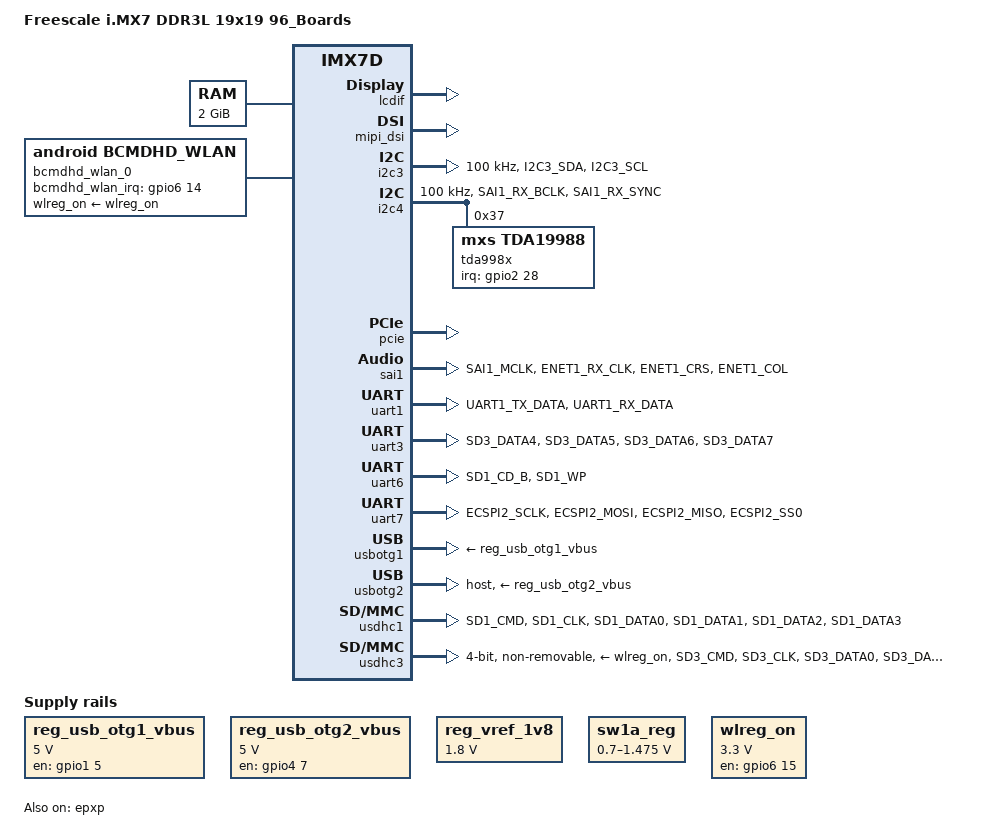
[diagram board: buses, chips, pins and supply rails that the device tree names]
/*
 * Copyright (C) 2015 Freescale Semiconductor, Inc.
 *
 * This program is free software; you can redistribute it and/or modify
 * it under the terms of the GNU General Public License version 2 as
 * published by the Free Software Foundation.
 */

/dts-v1/;

#include <dt-bindings/input/input.h>
#include <dt-bindings/display/tda998x.h>
#include "imx7d.dtsi"

/ {
	model = "Freescale i.MX7 DDR3L 19x19 96_Boards";
	compatible = "fsl,imx7d-96Boards", "fsl,imx7d";

	memory {
		reg = <0x80000000 0x80000000>;
	};

	pxp_v4l2_out {
		compatible = "fsl,imx7d-pxp-v4l2", "fsl,imx6sx-pxp-v4l2", "fsl,imx6sl-pxp-v4l2";
		status = "okay";
	};

	regulators {
		compatible = "simple-bus";
		#address-cells = <1>;
		#size-cells = <0>;

		reg_usb_otg1_vbus: regulator@0 {
			compatible = "regulator-fixed";
			reg = <0>;
			regulator-name = "usb_otg1_vbus";
			regulator-min-microvolt = <5000000>;
			regulator-max-microvolt = <5000000>;
			gpio = <&gpio1 5 GPIO_ACTIVE_HIGH>;
			enable-active-high;
		};

		reg_usb_otg2_vbus: regulator@1 {
			compatible = "regulator-fixed";
			reg = <1>;
			regulator-name = "usb_otg2_vbus";
			regulator-min-microvolt = <5000000>;
			regulator-max-microvolt = <5000000>;
			gpio = <&gpio4 7 GPIO_ACTIVE_HIGH>;
			enable-active-high;
		};

		reg_vref_1v8: regulator@3 {
			compatible = "regulator-fixed";
			regulator-name = "vref-1v8";
			regulator-min-microvolt = <1800000>;
			regulator-max-microvolt = <1800000>;
		};

		sw1a_reg: sw1a {
			compatible = "regulator-fixed";
			regulator-name = "sw1a_reg";
			regulator-min-microvolt = <700000>;
			regulator-max-microvolt = <1475000>;
			regulator-boot-on;
			regulator-always-on;
			regulator-ramp-delay = <6250>;
		};

		wlreg_on: fixedregulator@100 {
			compatible = "regulator-fixed";
			regulator-name = "wlreg_on";
			gpio = <&gpio6 15 GPIO_ACTIVE_HIGH>;
			startup-delay-us = <100>;
			enable-active-high;
			regulator-min-microvolt = <3300000>;
			regulator-max-microvolt = <3300000>;
			regulator-always-on;
		};
	};

	bcmdhd_wlan_0:	bcmdhd_wlan@0 {
		compatible = "android,bcmdhd_wlan";
		wlreg_on-supply = <&wlreg_on>;
		bcmdhd_wlan_irq = <&gpio6 14 0>; 
	};

	audclock_fixed: audclock_fixed {
        #clock-cells = <0>;
		compatible = "fixed-clock";
		clock-frequency = <24576000>;
		status="okay";
	};

    clk_aud1: clk_aud1{
		#clock-cells = <0>;
		compatible = "gpio-gate-clock";
		clocks = <&audclock_fixed>;
#if 0
	enable-gpios = <&gpio1 27 0>; /* BeagleBone Black Clk enable on GPIO1_27 */
#endif
		status="okay";
	};  
	sound-hdmi {
        compatible = "mxs,imx-audio-tda19988x";
        model = "tda19988x-audio";
		cpu-dai = <&sai1>;
        hdmi-controller = <&tda998x>;
	};

	sound {

#if 0
        compatible = "fsl,imx7d-evk-wm8960",
                 "fsl,imx-audio-wm8960";
        model = "wm8960-audio";
        cpu-dai = <&sai1>;
        audio-codec = <&codec>;
        codec-master;
		//compatible = "nxp,tda998x";
        hp-det = <2 0>;
        hp-det-gpios = <&gpio2 28 0>;
        audio-routing =
            "Headphone Jack", "HP_L",
            "Headphone Jack", "HP_R",
            "Ext Spk", "SPK_LP",
            "Ext Spk", "SPK_LN",
            "Ext Spk", "SPK_RP",
            "Ext Spk", "SPK_RN",
            "LINPUT1", "Main MIC",
            "Main MIC", "MICB";
        assigned-clocks = <&clks IMX7D_AUDIO_MCLK_ROOT_SRC>,
                      <&clks IMX7D_AUDIO_MCLK_ROOT_CLK>;
        assigned-clock-parents = <&clks IMX7D_PLL_AUDIO_POST_DIV>;
        assigned-clock-rates = <0>, <12288000>;
#endif


#if 0
		compatible = "simple-audio-card";
		simple-audio-card,name = "imx7-tda19988";
		simple-audio-card,format = "i2s";

		simple-audio-card,dai-link@0{

			bitclock-master = <&tda_dac>;
			frame-master = <&tda_dac>;
			widgets = "Line", "Line Out";

			cpu {
            sound-dai = <&sai1>;
        };

			tda_dac: codec {
				sound-dai = <&tda_codec 0>;
				//clocks = <&clks IMX7D_AUDIO_MCLK_ROOT_CLK>;
				//clocks = <&clks IMX7D_SAI2_ROOT_CLK>;
				clocks = <&clks IMX7D_AUDIO_MCLK_ROOT_CLK>;
				clock-names = "mclk";
				wlf,shared-lrclk;
				/*
				clocks = <&clks IMX7D_PLL_AUDIO_POST_DIV>;	
				clock-names = "pll_audio_post_div";
				*/
				clock-frequency = <24576000>;
		};
	};
     tda_codec: tda998x@37 {
     	compatible = "mxs,tda_audio";
     	#sound-dai-cells = <0>;
     	/* reg = <0x37>; */
     	status="okay";
     };
#endif
	};
};

&cpu0 {
	arm-supply = <&sw1a_reg>;
};

&epxp {
	status = "okay";
};

// AWS - no LCDIF yet
&lcdif {
    disp-dev = "mipi_dsi_samsung";

	pinctrl-names = "default";
	display = <&display0>;
	status = "okay";

	display0: display {
		bits-per-pixel = <24>;
		bus-width = <24>;

		display-timings {
			native-mode = <&timing0>;
			timing0: timing0 {
            clock-frequency = <83500000>;
            hactive = <1280>;
            vactive = <800>;
            hfront-porch = <390>;
            hback-porch = <0>;
            hsync-len = <11>;
            vback-porch = <0>;
            vfront-porch = <21>;
            vsync-len = <10>;
			};
		};
	};
};

&mipi_dsi {
	status = "okay";
	pinctrl-names = "default";
	lcd_panel = "TRULY-TDA";
//	resets = <&mipi_dsi_reset>;
	status = "okay";
};

&i2c3 {
	clock-frequency = <100000>;
	pinctrl-names = "default";
	pinctrl-0 = <&pinctrl_i2c3>;
	status = "okay";
};

&i2c4 {
	clock-frequency = <100000>;
	pinctrl-0 = <&pinctrl_i2c4>;
	status = "okay";

	tda998x: hdmi-encoder {
		//compatible = "nxp,tda998x";
		compatible = "mxs,tda19988";
		//reg = <0x70>;
		reg = <0x37>;
		interrupt-parent = <&gpio2>;
		interrupts = <28 IRQ_TYPE_EDGE_FALLING>;           /* falling edge */
	//	video-ports = <0x230145>;         		     /* default value */	
		pinctrl-0 = <&pinctrl_tda998x &pinctrl_lcdif_dat &pinctrl_lcdif_ctrl>;	
		pinctrl-names = "default";

		#sound-dai-cells = <0>;

		/*	DAI-format	AP_ENA reg value */
		/*audio-ports = <TDA998x_I2S	0x03>;*/
		audio-ports = <AFMT_I2S	0x03>;
	}; 


};

&iomuxc {
	pinctrl-names = "default";

	imx7d-sdb {
		pinctrl_enet1: enet1grp {
			fsl,pins = <
				MX7D_PAD_GPIO1_IO10__ENET1_MDIO		0x3
				MX7D_PAD_GPIO1_IO11__ENET1_MDC		0x3
				MX7D_PAD_ENET1_RGMII_TXC__ENET1_RGMII_TXC	0x1
				MX7D_PAD_ENET1_RGMII_TD0__ENET1_RGMII_TD0	0x1
				MX7D_PAD_ENET1_RGMII_TD1__ENET1_RGMII_TD1	0x1
				MX7D_PAD_ENET1_RGMII_TD2__ENET1_RGMII_TD2	0x1
				MX7D_PAD_ENET1_RGMII_TD3__ENET1_RGMII_TD3	0x1
				MX7D_PAD_ENET1_RGMII_TX_CTL__ENET1_RGMII_TX_CTL	0x1
				MX7D_PAD_ENET1_RGMII_RXC__ENET1_RGMII_RXC	0x1
				MX7D_PAD_ENET1_RGMII_RD0__ENET1_RGMII_RD0	0x1
				MX7D_PAD_ENET1_RGMII_RD1__ENET1_RGMII_RD1	0x1
				MX7D_PAD_ENET1_RGMII_RD2__ENET1_RGMII_RD2	0x1
				MX7D_PAD_ENET1_RGMII_RD3__ENET1_RGMII_RD3	0x1
				MX7D_PAD_ENET1_RGMII_RX_CTL__ENET1_RGMII_RX_CTL	0x1
			>;
		};

		pinctrl_i2c1: i2c1grp {
			fsl,pins = <
				MX7D_PAD_I2C1_SDA__I2C1_SDA	0x4000007f
				MX7D_PAD_I2C1_SCL__I2C1_SCL	0x4000007f
			>;
		};

		pinctrl_i2c2: i2c2grp {
			fsl,pins = <
				MX7D_PAD_I2C2_SDA__I2C2_SDA	0x4000007f
				MX7D_PAD_I2C2_SCL__I2C2_SCL	0x4000007f
			>;
		};

		pinctrl_i2c3: i2c3grp {
			fsl,pins = <
				MX7D_PAD_I2C3_SDA__I2C3_SDA          0x4000007f
				MX7D_PAD_I2C3_SCL__I2C3_SCL          0x4000007f
			>;
		};

		pinctrl_i2c4: i2c4grp {
			fsl,pins = <
				MX7D_PAD_SAI1_RX_BCLK__I2C4_SDA		0x4000007f
				MX7D_PAD_SAI1_RX_SYNC__I2C4_SCL		0x4000007f
			>;
		};

		pinctrl_lcdif_dat: lcdifdatgrp {
			fsl,pins = <
				MX7D_PAD_LCD_DATA00__LCD_DATA0	0x79
				MX7D_PAD_LCD_DATA01__LCD_DATA1	0x79
				MX7D_PAD_LCD_DATA02__LCD_DATA2	0x79
				MX7D_PAD_LCD_DATA03__LCD_DATA3	0x79
				MX7D_PAD_LCD_DATA04__LCD_DATA4	0x79
				MX7D_PAD_LCD_DATA05__LCD_DATA5	0x79
				MX7D_PAD_LCD_DATA06__LCD_DATA6	0x79
				MX7D_PAD_LCD_DATA07__LCD_DATA7	0x79
				MX7D_PAD_LCD_DATA08__LCD_DATA8	0x79
				MX7D_PAD_LCD_DATA09__LCD_DATA9	0x79
				MX7D_PAD_LCD_DATA10__LCD_DATA10	0x79
				MX7D_PAD_LCD_DATA11__LCD_DATA11	0x79
				MX7D_PAD_LCD_DATA12__LCD_DATA12	0x79
				MX7D_PAD_LCD_DATA13__LCD_DATA13	0x79
				MX7D_PAD_LCD_DATA14__LCD_DATA14	0x79
				MX7D_PAD_LCD_DATA15__LCD_DATA15	0x79
				MX7D_PAD_LCD_DATA16__LCD_DATA16	0x79
				MX7D_PAD_LCD_DATA17__LCD_DATA17	0x79
				MX7D_PAD_LCD_DATA18__LCD_DATA18	0x79
				MX7D_PAD_LCD_DATA19__LCD_DATA19	0x79
				MX7D_PAD_LCD_DATA20__LCD_DATA20	0x79
				MX7D_PAD_LCD_DATA21__LCD_DATA21	0x79
				MX7D_PAD_LCD_DATA22__LCD_DATA22	0x79
				MX7D_PAD_LCD_DATA23__LCD_DATA23	0x79
			>;
		};

		pinctrl_lcdif_ctrl: lcdifctrlgrp {
			fsl,pins = <
				MX7D_PAD_LCD_CLK__LCD_CLK	0x79
				MX7D_PAD_LCD_ENABLE__LCD_ENABLE	0x79
				MX7D_PAD_LCD_VSYNC__LCD_VSYNC	0x79
				MX7D_PAD_LCD_HSYNC__LCD_HSYNC	0x79
				MX7D_PAD_LCD_RESET__LCD_RESET	0x79
			>;
		};


		pinctrl_tda998x: hdmigrp-1 {
			fsl,pins = <
				MX7D_PAD_LCD_CLK__LCD_CLK	0x79
				MX7D_PAD_LCD_ENABLE__LCD_ENABLE	0x79
				MX7D_PAD_LCD_VSYNC__LCD_VSYNC	0x79
				MX7D_PAD_LCD_HSYNC__LCD_HSYNC	0x79
				MX7D_PAD_LCD_RESET__LCD_RESET	0x79
				MX7D_PAD_EPDC_BDR0__GPIO2_IO28 0x59
			>;
		};

		pinctrl_uart1: uart1grp {
			fsl,pins = <
				MX7D_PAD_UART1_TX_DATA__UART1_DCE_TX 0x79
				MX7D_PAD_UART1_RX_DATA__UART1_DCE_RX 0x79
			>;
		};

		pinctrl_uart3: uart3grp {
			fsl,pins = <
				MX7D_PAD_SD3_DATA4__UART3_DCE_RX 0x79
				MX7D_PAD_SD3_DATA5__UART3_DCE_TX 0x79
				MX7D_PAD_SD3_DATA6__UART3_DCE_RTS 0x79
				MX7D_PAD_SD3_DATA7__UART3_DCE_CTS 0x79
			>;
		};

		pinctrl_uart5: uart5grp {
			fsl,pins = <
				MX7D_PAD_SAI1_RX_DATA__UART5_DCE_RX 0x79
				MX7D_PAD_SAI1_TX_BCLK__UART5_DCE_TX 0x79
				MX7D_PAD_SAI1_TX_DATA__UART5_DCE_RTS 0x79
				MX7D_PAD_SAI1_TX_SYNC__UART5_DCE_CTS 0x79
			>;
		};

		pinctrl_uart5dte: uart5dtegrp {
			fsl,pins = <
				MX7D_PAD_SAI1_TX_BCLK__UART5_DTE_RX 0x79
				MX7D_PAD_SAI1_RX_DATA__UART5_DTE_TX 0x79
				MX7D_PAD_SAI1_TX_SYNC__UART5_DTE_RTS 0x79
				MX7D_PAD_SAI1_TX_DATA__UART5_DTE_CTS 0x79
			>;
		};

		pinctrl_uart6: uart6grp {
				fsl,pins = <
					MX7D_PAD_SD1_CD_B__UART6_DCE_RX 0x79
					MX7D_PAD_SD1_WP__UART6_DCE_TX   0x79
				>;
		};

#if 0
		pinctrl_uart7: uart7grp {
				fsl,pins = <
				/* BT UART */
				MX7D_PAD_ECSPI2_SCLK__UART7_DCE_RX 0x79
				MX7D_PAD_ECSPI2_MOSI__UART7_DCE_TX 0x79
				MX7D_PAD_ECSPI2_MISO__UART7_DCE_RTS 0x79
				MX7D_PAD_ECSPI2_SS0__UART7_DCE_CTS 0x79
				>;
		};
#endif

		/* DTE mode */
		pinctrl_uart7: uart7grp {
				fsl,pins = <
				/* BT UART */
				MX7D_PAD_ECSPI2_SCLK__UART7_DTE_TX 0x79
				MX7D_PAD_ECSPI2_MOSI__UART7_DTE_RX 0x79
				MX7D_PAD_ECSPI2_MISO__UART7_DTE_CTS 0x79
				MX7D_PAD_ECSPI2_SS0__UART7_DTE_RTS 0x79
				>;
		};

		pinctrl_usdhc1: usdhc1grp {
			fsl,pins = <
					MX7D_PAD_SD1_CMD__SD1_CMD       0x59
					MX7D_PAD_SD1_CLK__SD1_CLK       0x19
					MX7D_PAD_SD1_DATA0__SD1_DATA0   0x59
					MX7D_PAD_SD1_DATA1__SD1_DATA1   0x59
					MX7D_PAD_SD1_DATA2__SD1_DATA2   0x59
					MX7D_PAD_SD1_DATA3__SD1_DATA3   0x59
			>;
		};

		pinctrl_usdhc2: usdhc2grp {
			fsl,pins = <
				MX7D_PAD_SD2_CMD__SD2_CMD       0x59
				MX7D_PAD_SD2_CLK__SD2_CLK       0x19
				MX7D_PAD_SD2_DATA0__SD2_DATA0   0x59
				MX7D_PAD_SD2_DATA1__SD2_DATA1   0x59
				MX7D_PAD_SD2_DATA2__SD2_DATA2   0x59
				MX7D_PAD_SD2_DATA3__SD2_DATA3   0x59
				MX7D_PAD_ECSPI2_MOSI__GPIO4_IO21	0x59 /* WL_REG_ON */
			>;
		};

		pinctrl_usdhc2_100mhz: usdhc2grp_100mhz {
			fsl,pins = <
				MX7D_PAD_SD2_CMD__SD2_CMD       0x5a
				MX7D_PAD_SD2_CLK__SD2_CLK       0x1a
				MX7D_PAD_SD2_DATA0__SD2_DATA0   0x5a
				MX7D_PAD_SD2_DATA1__SD2_DATA1   0x5a
				MX7D_PAD_SD2_DATA2__SD2_DATA2   0x5a
				MX7D_PAD_SD2_DATA3__SD2_DATA3   0x5a
			>;
		};

		pinctrl_usdhc2_200mhz: usdhc2grp_200mhz {
			fsl,pins = <
				MX7D_PAD_SD2_CMD__SD2_CMD       0x5b
				MX7D_PAD_SD2_CLK__SD2_CLK       0x1b
				MX7D_PAD_SD2_DATA0__SD2_DATA0   0x5b
				MX7D_PAD_SD2_DATA1__SD2_DATA1   0x5b
				MX7D_PAD_SD2_DATA2__SD2_DATA2   0x5b
				MX7D_PAD_SD2_DATA3__SD2_DATA3   0x5b
			>;
		};

		pinctrl_sai1: sai1grp {
			fsl,pins = <
				MX7D_PAD_SAI1_MCLK__SAI1_MCLK           0x1f
				MX7D_PAD_ENET1_RX_CLK__SAI1_TX_BCLK     0x1f
				MX7D_PAD_ENET1_CRS__SAI1_TX_SYNC	0x1f
				MX7D_PAD_ENET1_COL__SAI1_TX_DATA0	0x30
			>;
		};

		pinctrl_sai2: sai2grp {
			fsl,pins = <
				MX7D_PAD_SAI2_TX_BCLK__SAI2_TX_BCLK     0x1f
				MX7D_PAD_SAI2_TX_SYNC__SAI2_TX_SYNC     0x1f
				MX7D_PAD_SAI2_TX_DATA__SAI2_TX_DATA0    0x30
				MX7D_PAD_SAI2_RX_DATA__SAI2_RX_DATA0    0x1f
			>;
		};

		pinctrl_spi1: spi1grp {
			fsl,pins = <
				MX7D_PAD_GPIO1_IO09__GPIO1_IO9	0x59
				MX7D_PAD_GPIO1_IO12__GPIO1_IO12	0x59
				MX7D_PAD_GPIO1_IO13__GPIO1_IO13	0x59
			>;
		};

		pinctrl_wifi: wifigrp {
			fsl,pins = <

				/* WIFI pins */
				MX7D_PAD_SD3_CMD__SD3_CMD       0x59 /* 0x17059 */
				MX7D_PAD_SD3_CLK__SD3_CLK       0x0D /* 0x10059 */ /* 0x19 */
				MX7D_PAD_SD3_DATA0__SD3_DATA0   0x59 /* 0x17059 */ /* 0x59 */
				MX7D_PAD_SD3_DATA1__SD3_DATA1   0x59 /* 0x17059 */ /* 0x59 */
				MX7D_PAD_SD3_DATA2__SD3_DATA2   0x59 /* 0x17059 */ /* 0x59 */
				MX7D_PAD_SD3_DATA3__SD3_DATA3   0x59 /* 0x17059 */ /* 0x59 */

				/* WLREG */
				MX7D_PAD_SAI1_TX_DATA__GPIO6_IO15 0x19 /* 0x13069 */ /* 0x3031 */

// AWS - Bluetooth not yet proven 

				/* CLK REQ */
				MX7D_PAD_SAI1_TX_SYNC__GPIO6_IO14 0x59

				/* BT PCM */
//				MX7D_PAD_SAI2_TX_SYNC__SAI2_TX_SYNC 0x1f
//				MX7D_PAD_SAI2_TX_BCLK__SAI2_TX_BCLK 0x1f
//				MX7D_PAD_SAI2_TX_DATA__SAI2_TX_DATA0 0x30
//				MX7D_PAD_SAI2_RX_DATA__SAI2_RX_DATA0 0x1f
				MX7D_PAD_SAI2_TX_SYNC__SAI2_TX_SYNC 0x1f
				MX7D_PAD_SAI2_TX_BCLK__SAI2_TX_BCLK 0x1f
				MX7D_PAD_SAI2_TX_DATA__SAI2_TX_DATA0 0x30
				MX7D_PAD_SAI2_RX_DATA__SAI2_RX_DATA0 0x1f

				/* other BT lines */
				MX7D_PAD_SAI1_TX_BCLK__GPIO6_IO13 0x59
				MX7D_PAD_ECSPI1_MOSI__GPIO4_IO17 	0x1f

			>;
		};
	};
};

&iomuxc_lpsr {
	pinctrl-names = "default";
	pinctrl-0 = <&pinctrl_hog_2>;

	imx7d-sdb {
		pinctrl_hog_2: hoggrp-2 {
			fsl,pins = <
/*				MX7D_PAD_GPIO1_IO05__GPIO5_IO5	0x14 */
				MX7D_PAD_GPIO1_IO07__GPIO1_IO7	0x59  /* CAN_STBY */
			>;
		};
		pinctrl_pwm1: pwm1grp {
			fsl,pins = <
				MX7D_PAD_GPIO1_IO01__PWM1_OUT	0x110b0
			>;
		};
	};
};

&pcie {
	pinctrl-names = "default";
	/* reset-gpio = <&gpio_spi 1 GPIO_ACTIVE_HIGH>; */
	status = "okay";
};

&clks {
	assigned-clocks = <&clks IMX7D_PLL_AUDIO_POST_DIV>;
	assigned-clock-rates = <884736000>;
};

&sai1 {
	pinctrl-names = "default";
	pinctrl-0 = <&pinctrl_sai1>;
	assigned-clocks = <&clks IMX7D_SAI1_ROOT_SRC>,
			  <&clks IMX7D_SAI1_ROOT_CLK>;
	assigned-clock-parents = <&clks IMX7D_PLL_AUDIO_POST_DIV>;
	assigned-clock-rates = <0>, <36864000>;
  	fsl,mode="i2s-master";
	status = "okay";
};

#if 0
&sai2 {
	pinctrl-names = "default";
	//pinctrl-0 = <&pinctrl_sai1>;
	pinctrl-0 = <&pinctrl_sai2>;
	assigned-clocks = <&clks IMX7D_SAI2_ROOT_SRC>,
			  <&clks IMX7D_SAI2_ROOT_CLK>;
	assigned-clock-parents = <&clks IMX7D_PLL_AUDIO_POST_DIV>;
	assigned-clock-rates = <0>, <18432000>;
	status = "okay";
};
#endif


&sdma {
	status = "okay";
};

&uart1 {
	pinctrl-names = "default";
	pinctrl-0 = <&pinctrl_uart1>;
	assigned-clocks = <&clks IMX7D_UART1_ROOT_SRC>;
	assigned-clock-parents = <&clks IMX7D_PLL_SYS_MAIN_240M_CLK>;
	status = "okay";
};

&uart3 {
	pinctrl-names = "default";
	pinctrl-0 = <&pinctrl_uart3>;
	assigned-clocks = <&clks IMX7D_UART3_ROOT_SRC>;
	assigned-clock-parents = <&clks IMX7D_PLL_SYS_MAIN_240M_CLK>;
	fsl,uart-has-rtscts;
	status = "okay";
};

&uart6 {
	pinctrl-names = "default";
	pinctrl-0 = <&pinctrl_uart6>;
	assigned-clocks = <&clks IMX7D_UART6_ROOT_SRC>;
	assigned-clock-parents = <&clks IMX7D_PLL_SYS_MAIN_240M_CLK>;
	fsl,uart-has-rtscts;
	status = "okay";
};

&uart7 {
	pinctrl-names = "default";
	pinctrl-0 = <&pinctrl_uart7>;
	assigned-clocks = <&clks IMX7D_UART7_ROOT_SRC>;
	assigned-clock-parents = <&clks IMX7D_PLL_SYS_MAIN_240M_CLK>;
	fsl,uart-has-rtscts;
	fsl,dte-mode;
	status = "okay";
};


&usbotg1 {
	vbus-supply = <&reg_usb_otg1_vbus>;
	status = "okay";
};

&usbotg2 {
	vbus-supply = <&reg_usb_otg2_vbus>;
	dr_mode = "host";
	status = "okay";
};

&usdhc1 {
	pinctrl-names = "default";
	pinctrl-0 = <&pinctrl_usdhc1>;
	enable-sdio-wakeup;
	//non-removable;
	keep-power-in-suspend;
	tuning-step = <2>;
	status = "okay";
};

&usdhc3 {
	pinctrl-names = "default";
//	pinctrl-0 = <&pinctrl_usdhc3>;
//	pinctrl-1 = <&pinctrl_usdhc3_100mhz>;
//	pinctrl-2 = <&pinctrl_usdhc3_200mhz>;
	pinctrl-0 = <&pinctrl_wifi>;
	bus-width = <4>;
	no-1-8-v;
	non-removable;
// next two had been removed
//	cd-post;
//	pm-ignore-notify;

	keep-power-in-suspend;
	enable-sdio-wakeup;
	vmmc-supply = <&wlreg_on>;
	wifi-host;
	status="okay";
};

&crypto {
	status = "disabled";
};

